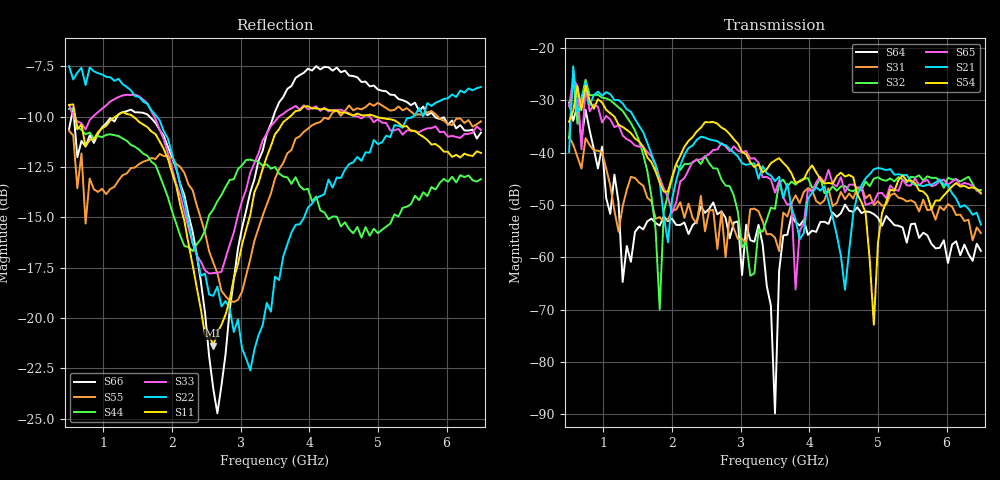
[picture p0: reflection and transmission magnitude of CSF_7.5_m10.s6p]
!Keysight Technologies,M9804A,MY58100912,A.14.10.03
!Date: Thursday, April 27, 2023 10:28:33
!Correction: S11(C  6-Port  )
!S12(C  6-Port  )
!S13(C  6-Port  )
!S14(C  6-Port  )
!S15(C  6-Port  )
!S16(C  6-Port  )
!S21(C  6-Port  )
!S22(C  6-Port  )
!S23(C  6-Port  )
!S24(C  6-Port  )
!S25(C  6-Port  )
!S26(C  6-Port  )
!S31(C  6-Port  )
!S32(C  6-Port  )
!S33(C  6-Port  )
!S34(C  6-Port  )
!S35(C  6-Port  )
!S36(C  6-Port  )
!S41(C  6-Port  )
!S42(C  6-Port  )
!S43(C  6-Port  )
!S44(C  6-Port  )
!S45(C  6-Port  )
!S46(C  6-Port  )
!S51(C  6-Port  )
!S52(C  6-Port  )
!S53(C  6-Port  )
!S54(C  6-Port  )
!S55(C  6-Port  )
!S56(C  6-Port  )
!S61(C  6-Port  )
!S62(C  6-Port  )
!S63(C  6-Port  )
!S64(C  6-Port  )
!S65(C  6-Port  )
!S66(C  6-Port  )
!S6P File: Measurement: :
# Hz S  RI  R 50
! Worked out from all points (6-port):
!   101 points, 500 MHz to 6.5 GHz, reference 50 ohm
!   strongest paths, dB at 500 MHz, 2 GHz, 3.5 GHz, 5 GHz, 6.5 GHz:
!     S54: -34.1, -44.6, -41.5, -57.3, -47.7
!     S21: -39.9, -48.9, -45.5, -42.9, -53.7
!     S65: -31.1, -51.5, -47.7, -47.7, -47.8
!     S32: -37.2, -45.0, -50.7, -44.7, -47.1
!     S31: -37.0, -51.1, -56.2, -49.3, -55.4
!     S64: -30.4, -52.6, -89.8, -52.4, -58.8
!   lowest |S11| = -21.4 dB at 2.6 GHz (marker M1), VSWR 1.19, Z = 42.4 + j2.21 ohm
!   |S11| at or under -10 dB: 589.7 MHz to 1.173 GHz (582.9 MHz wide, 66.1 % of centre); 1.437 GHz to 3.715 GHz (2.279 GHz wide, 88.5 % of centre); 4.978 GHz to end of sweep
